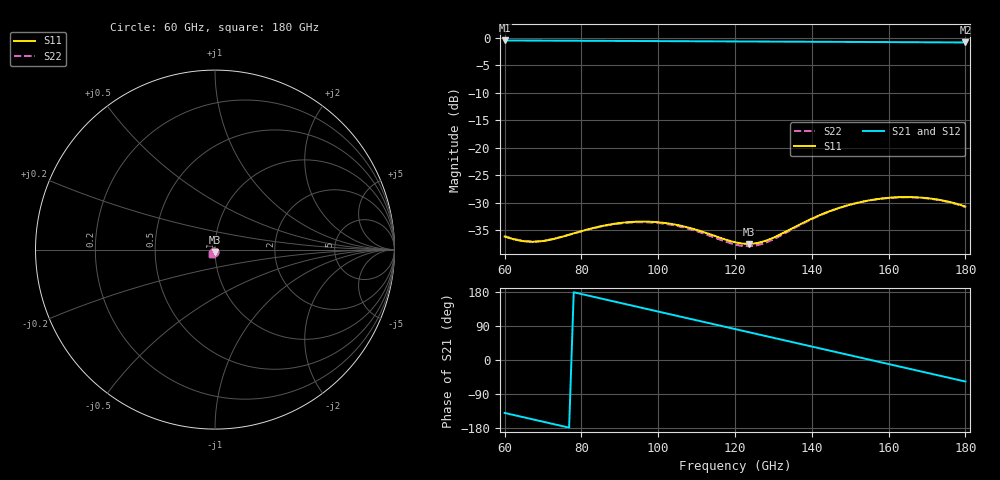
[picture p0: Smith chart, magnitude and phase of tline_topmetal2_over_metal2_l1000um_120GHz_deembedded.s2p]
! Created with skrf 2.2.0 (http://scikit-rf.org).
# GHz S DB R 50.0
! Port[1] = P1
! Port[2] = P2
!freq dBS11 angS11 dBS21 angS21 dBS12 angS12 dBS22 angS22
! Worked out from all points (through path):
!   101 points, 60 GHz to 180 GHz, reference 50 ohm
!   highest |S21| = -0.48 dB at 60 GHz (marker M1); lowest = -0.8 dB at 180 GHz (marker M2)
!   group delay of S21, straight-line fit = 6.42 ps
!   lowest |S11| = -37.5 dB at 123.6 GHz (marker M3), VSWR 1.03, Z = 49.9 - j1.33 ohm
!   |S11| at or under -10 dB: start of sweep to end of sweep
!   |S22| runs from -37.9 to -29.0 dB; largest |S21 - S12| = 1.1e-14
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60  -36.18 -105.6  -0.48 -139.7  -0.48 -139.7  -36.11 -106.0
66  -37.11 -97.9  -0.49 -153.5  -0.49 -153.5  -37.03 -98.6
70.8  -36.91 -90.7  -0.51 -164.6  -0.51 -164.6  -36.87 -91.7
75.6  -36.10 -86.4  -0.52 -175.7  -0.52 -175.7  -36.10 -87.6
80.4  -35.13 -85.9  -0.53 173.2  -0.53 173.2  -35.16 -87.1
85.2  -34.29 -88.4  -0.55 162.1  -0.55 162.1  -34.35 -89.6
90  -33.73 -92.7  -0.56 151.0  -0.56 151.0  -33.80 -93.9
94.8  -33.48 -97.8  -0.58 139.9  -0.58 139.9  -33.58 -99.1
100.8  -33.64 -104.3  -0.60 126.0  -0.60 126.0  -33.78 -105.6
110.4  -35.05 -110.6  -0.63 103.8  -0.63 103.8  -35.29 -112.0
115.2  -36.19 -109.1  -0.64 92.8  -0.64 92.8  -36.51 -110.3
120  -37.22 -102.1  -0.66 81.7  -0.66 81.7  -37.63 -102.7
123.6  -37.52 -93.4  -0.67 73.4  -0.67 73.4  -37.94 -93.2
127.2  -37.13 -83.9  -0.68 65.1  -0.68 65.1  -37.49 -83.0
132  -35.74 -74.9  -0.69 54.0  -0.69 54.0  -35.96 -73.6
140.4  -32.80 -72.0  -0.72 34.6  -0.72 34.6  -32.89 -71.1
146.4  -31.14 -76.5  -0.73 20.7  -0.73 20.7  -31.18 -75.9
151.2  -30.15 -82.0  -0.75 9.7  -0.75 9.7  -30.19 -81.7
156  -29.48 -88.4  -0.76 -1.4  -0.76 -1.4  -29.50 -88.4
160.8  -29.09 -95.5  -0.78 -12.5  -0.78 -12.5  -29.12 -95.6
170.4  -29.22 -109.8  -0.81 -34.7  -0.81 -34.7  -29.27 -110.4
180  -30.72 -122.2  -0.84 -56.8  -0.84 -56.8  -30.81 -123.4
